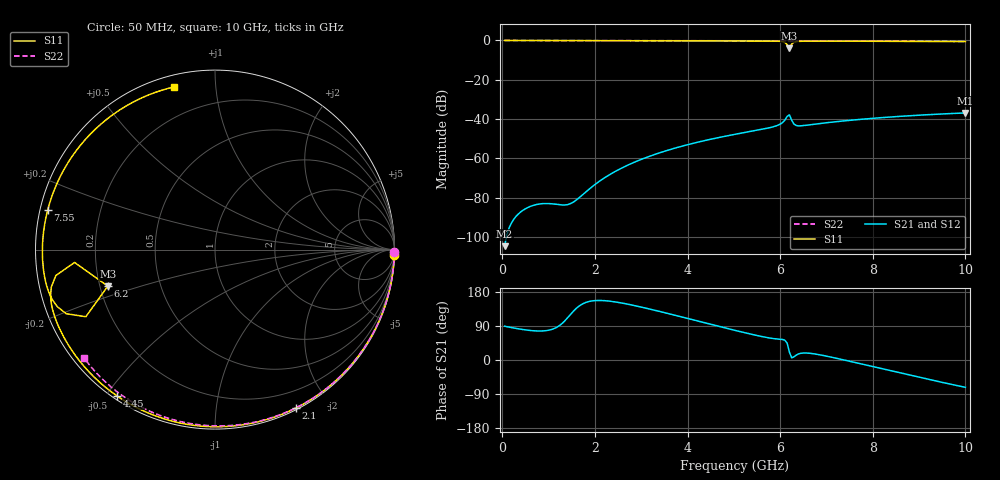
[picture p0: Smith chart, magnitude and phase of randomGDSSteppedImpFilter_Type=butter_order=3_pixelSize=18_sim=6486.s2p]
! freq	dB(S11)	phase(S11)	dB(S12)	phase(S12)
!  dB(S21)	phase(S21)	dB(S22)	phase(S22)
!S-par simulation data
#  GHz  S  DB  R 50
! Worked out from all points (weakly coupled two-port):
!   200 points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, 50 MHz to 10 GHz, reference 50 ohm
!   highest |S21| = -36.84 dB at 10 GHz (marker M1); lowest = -104.6 dB at 50 MHz (marker M2)
!   lowest |S11| = -4.0 dB at 6.2 GHz (marker M3), VSWR 4.42, Z = 11.6 - j7.85 ohm
!   |S11| at or under -10 dB: nowhere
!   |S22| runs from -0.5 to 0.0 dB; largest |S21 - S12| = 0
!   S11 on the Smith chart (normalised r, x): 50 MHz: 0, -73; 2.1 GHz: 0.02, -1.64; 4.45 GHz: 0.01, -0.53; 6.2 GHz: 0.23, -0.16; 7.55 GHz: 0.02, +0.12; 10 GHz: 0.05, +0.78
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0.05  -0.00 -1.6  -104.57 89.1  -104.57 89.1  -0.00 -0.8
0.8  -0.03 -24.7  -83.15 76.5  -83.15 76.5  -0.02 -12.9
1.65  -0.06 -50.0  -80.13 141.6  -80.13 141.6  -0.03 -26.5
1.75  -0.07 -52.9  -78.11 149.1  -78.11 149.1  -0.04 -28.0
2.1  -0.08 -62.9  -71.53 157.1  -71.53 157.1  -0.04 -33.5
2.65  -0.10 -78.1  -64.04 148.7  -64.04 148.7  -0.05 -42.0
3.4  -0.12 -97.8  -57.09 128.1  -57.09 128.1  -0.07 -53.3
4.45  -0.17 -123.8  -50.48 95.7  -50.48 95.7  -0.10 -68.6
5.05  -0.20 -138.2  -47.60 77.5  -47.60 77.5  -0.12 -77.0
5.75  -0.27 -155.7  -44.47 58.5  -44.47 58.5  -0.15 -86.6
6.05  -0.57 -167.0  -41.77 54.1  -41.77 54.1  -0.16 -90.6
6.1  -0.93 -170.7  -40.54 52.4  -40.54 52.4  -0.16 -91.3
6.15  -2.10 -174.8  -38.63 44.6  -38.63 44.6  -0.16 -92.0
6.2  -4.00 -161.2  -37.80 20.8  -37.80 20.8  -0.17 -92.6
6.25  -1.82 -152.5  -40.56 5.8  -40.56 5.8  -0.17 -93.3
6.3  -0.89 -156.7  -42.56 8.5  -42.56 8.5  -0.17 -94.0
6.35  -0.59 -160.1  -43.26 13.2  -43.26 13.2  -0.17 -94.6
6.7  -0.34 -172.5  -42.69 16.8  -42.69 16.8  -0.19 -99.2
7.55  -0.37 166.6  -40.50 -4.7  -40.50 -4.7  -0.25 -110.1
8.35  -0.44 147.2  -38.96 -27.4  -38.96 -27.4  -0.31 -120.1
9.25  -0.52 124.4  -37.66 -52.3  -37.66 -52.3  -0.39 -131.3
10  -0.59 104.2  -36.84 -72.2  -36.84 -72.2  -0.48 -140.5
